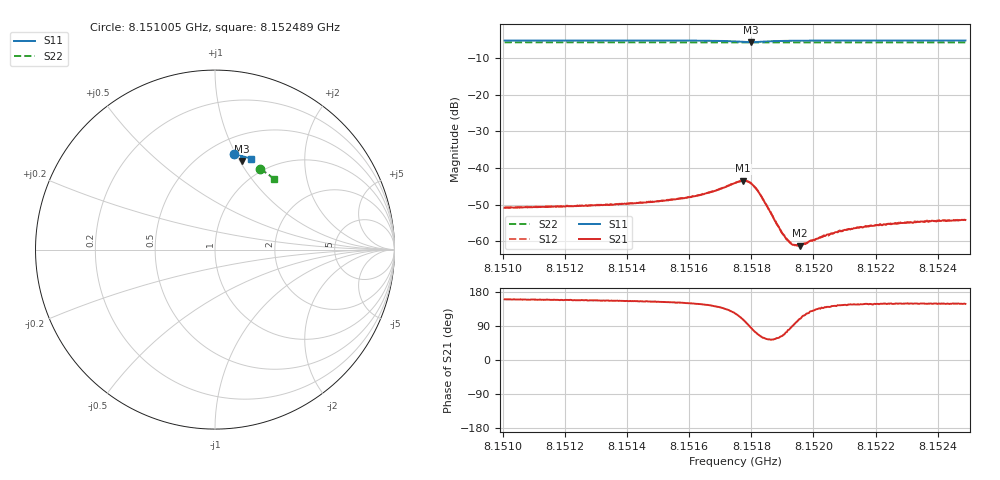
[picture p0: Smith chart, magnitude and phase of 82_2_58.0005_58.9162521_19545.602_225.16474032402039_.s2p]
#  HZ  S  RI  R  50.00
! Rohde & Schwarz Vector Network Analyzer
! Rohde-Schwarz,ZNB20-2Port,1311601062101988,3.16
! Created: UTC 3/21/2024, 12:53:56 AM
! freq[Hz]  re:S11  im:S11  re:S21  im:S21  re:S12  im:S12  re:S22  im:S22
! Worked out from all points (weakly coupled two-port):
!   401 points, 8.151005 GHz to 8.152489 GHz, reference 50 ohm
!   highest |S21| = -43.51 dB at 8.151773 GHz (marker M1); lowest = -61.2 dB at 8.151955 GHz (marker M2)
!   lowest |S11| = -5.7 dB at 8.151799 GHz (marker M3), VSWR 3.13, Z = 37.8 + j50.9 ohm
!   |S11| at or under -10 dB: nowhere
!   |S22| runs from -5.8 to -5.8 dB; largest |S21 - S12| = 0.00014
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8.1510052e9  0.1043 0.5328  -0.00269 0.00097  -0.00271 0.00101  0.2519 0.4483
8.1512538e9  0.1221 0.5292  -0.00284 0.00113  -0.00283 0.00121  0.2656 0.4398
8.1515024e9  0.1411 0.5243  -0.00313 0.00155  -0.00314 0.00164  0.2793 0.431
8.1516397e9  0.1536 0.519  -0.00361 0.00235  -0.00361 0.00243  0.2865 0.426
8.1516842e9  0.1582 0.5153  -0.00382 0.00301  -0.00382 0.00313  0.2888 0.4242
8.1517473e9  0.1627 0.5033  -0.0034 0.0052  -0.00337 0.00528  0.2921 0.4214
8.1517732e9  0.1585 0.4958  -0.00192 0.00639  -0.00187 0.00644  0.2931 0.4203
8.1517881e9  0.1528 0.4935  -0.00051 0.00651  -0.00042 0.00656  0.2936 0.4197
8.1517992e9  0.1479 0.4942  0.000554 0.00611  0.000638 0.00616  0.2938 0.4195
8.151814e9  0.1431 0.4979  0.00157 0.00506  0.00165 0.00508  0.2945 0.4192
8.1518289e9  0.1412 0.5032  0.00196 0.00382  0.00203 0.00382  0.2953 0.4188
8.151892e9  0.1487 0.5156  0.000703 0.00127  0.000753 0.00125  0.2988 0.417
8.1519068e9  0.1509 0.5165  0.000441 0.00109  0.000455 0.00111  0.2998 0.4164
8.1519291e9  0.1541 0.5172  4.49e-05 0.000921  5.03e-05 0.000949  0.3009 0.4154
8.1519402e9  0.1555 0.5175  -0.000103 0.000884  -7.41e-05 0.000874  0.3016 0.415
8.151955e9  0.1573 0.5175  -0.000275 0.000825  -0.000259 0.000819  0.3023 0.4145
8.1519958e9  0.1616 0.5174  -0.000648 0.000792  -0.000629 0.000794  0.3046 0.4128
8.1520775e9  0.1693 0.5163  -0.00108 0.000765  -0.00107 0.000812  0.3087 0.4097
8.152148e9  0.1749 0.5149  -0.00127 0.000856  -0.00128 0.000863  0.3124 0.4067
8.1522444e9  0.1823 0.5128  -0.00148 0.00091  -0.00143 0.000944  0.3172 0.4028
8.1523594e9  0.1905 0.5102  -0.00157 0.000964  -0.00159 0.000997  0.3228 0.3981
8.1524893e9  0.1995 0.5071  -0.00166 0.00103  -0.00166 0.00105  0.3293 0.3927
